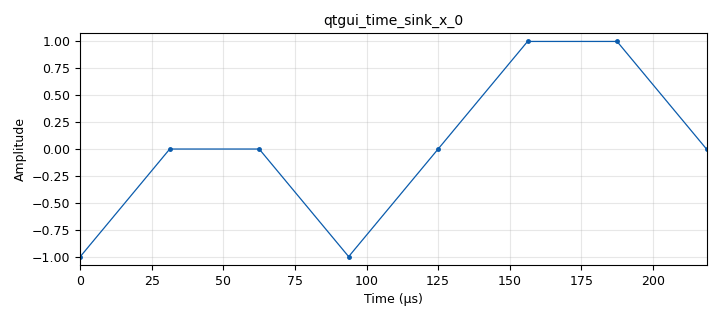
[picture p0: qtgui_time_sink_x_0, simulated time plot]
<?xml version='1.0' encoding='utf-8'?>
<?grc format='1' created='3.7.11'?>
<flow_graph>
<block>
<key>options</key>
<param><key>id</key><value>top_block</value></param>
<param><key>generate_options</key><value>qt_gui</value></param>
</block>
<block>
<key>variable</key>
<param><key>id</key><value>samp_rate</value></param>
<param><key>value</key><value>32000</value></param>
</block>
<block>
<key>blocks_file_sink</key>
<param><key>id</key><value>blocks_file_sink_0</value></param>
<param><key>file</key><value>/Users/victorguipont/Developpement-informatique/GNU-radio/out</value></param>
<param><key>type</key><value>float</value></param>
</block>
<block>
<key>blocks_repack_bits_bb</key>
<param><key>id</key><value>blocks_repack_bits_bb_0</value></param>
<param><key>k</key><value>1</value></param>
<param><key>l</key><value>2</value></param>
<param><key>endianness</key><value>gr.GR_MSB_FIRST</value></param>
<param><key>align_output</key><value>True</value></param>
</block>
<block>
<key>blocks_vector_source_x</key>
<param><key>id</key><value>blocks_vector_source_x_0</value></param>
<param><key>type</key><value>byte</value></param>
<param><key>repeat</key><value>False</value></param>
<param><key>vector</key><value>(0, 0, 0, 1, 1, 1, 1, 0)</value></param>
</block>
<block>
<key>digital_chunks_to_symbols_xx</key>
<param><key>id</key><value>digital_chunks_to_symbols_xx_0_0</value></param>
<param><key>dimension</key><value>2</value></param>
<param><key>in_type</key><value>byte</value></param>
<param><key>out_type</key><value>float</value></param>
<param><key>symbol_table</key><value>[-1,  0,  0, -1,  1,  0,  0,  1] </value></param>
</block>
<block>
<key>qtgui_time_sink_x</key>
<param><key>id</key><value>qtgui_time_sink_x_0</value></param>
<param><key>color1</key><value>"blue"</value></param>
<param><key>label1</key><value></value></param>
<param><key>marker1</key><value>0</value></param>
<param><key>size</key><value>8</value></param>
<param><key>srate</key><value>samp_rate</value></param>
<param><key>type</key><value>float</value></param>
</block>
<connection><source_block_id>blocks_repack_bits_bb_0</source_block_id><sink_block_id>digital_chunks_to_symbols_xx_0_0</sink_block_id><source_key>0</source_key><sink_key>0</sink_key></connection>
<connection><source_block_id>blocks_vector_source_x_0</source_block_id><sink_block_id>blocks_repack_bits_bb_0</sink_block_id><source_key>0</source_key><sink_key>0</sink_key></connection>
<connection><source_block_id>digital_chunks_to_symbols_xx_0_0</source_block_id><sink_block_id>blocks_file_sink_0</sink_block_id><source_key>0</source_key><sink_key>0</sink_key></connection>
<connection><source_block_id>digital_chunks_to_symbols_xx_0_0</source_block_id><sink_block_id>qtgui_time_sink_x_0</sink_block_id><source_key>0</source_key><sink_key>0</sink_key></connection>
</flow_graph>
